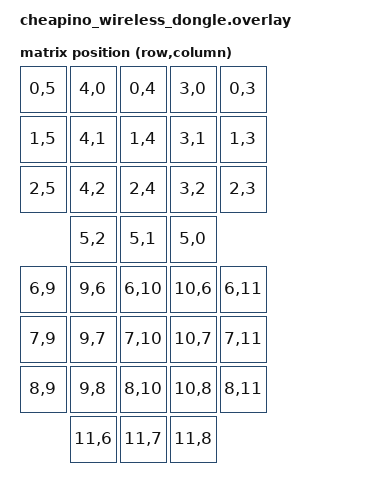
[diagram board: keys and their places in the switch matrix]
/*
 * Copyright (c) 2024 The ZMK Contributors
 *
 * SPDX-License-Identifier: MIT
 */

#include <dt-bindings/zmk/matrix_transform.h>
#include "../cheapinov2/cheapinov2-layout.dtsi"

&cheapino_layout {
    transform = <&dongle_transform>;
};

/ {
    chosen {
        zmk,kscan = &mock_kscan;
        zmk,physical-layout = &cheapino_layout;
    };

    dongle_transform: keymap_transform_0 {
        compatible = "zmk,matrix-transform";
        columns = <12>;
        rows = <12>;
        map = <
            /* left half — positions 0–17 */
            RC(0,5) RC(4,0) RC(0,4) RC(3,0) RC(0,3)   /* top row    pos 0–4  */
            RC(1,5) RC(4,1) RC(1,4) RC(3,1) RC(1,3)   /* middle row pos 5–9  */
            RC(2,5) RC(4,2) RC(2,4) RC(3,2) RC(2,3)   /* bottom row pos 10–14 */
                            RC(5,2) RC(5,1) RC(5,0)   /* thumbs     pos 15–17 */
            /* right half — positions 18–35 */
            RC(6,9)  RC(9,6)  RC(6,10)  RC(10,6)  RC(6,11)   /* top row    pos 18–22 */
            RC(7,9)  RC(9,7)  RC(7,10)  RC(10,7)  RC(7,11)   /* middle row pos 23–27 */
            RC(8,9)  RC(9,8)  RC(8,10)  RC(10,8)  RC(8,11)   /* bottom row pos 28–32 */
                              RC(11,6) RC(11,7) RC(11,8)      /* thumbs     pos 33–35 */
        >;
    };

    mock_kscan: mock_kscan_0 {
        compatible = "zmk,kscan-mock";
        columns = <0>;
        rows = <0>;
        events = <0>;
    };
};
